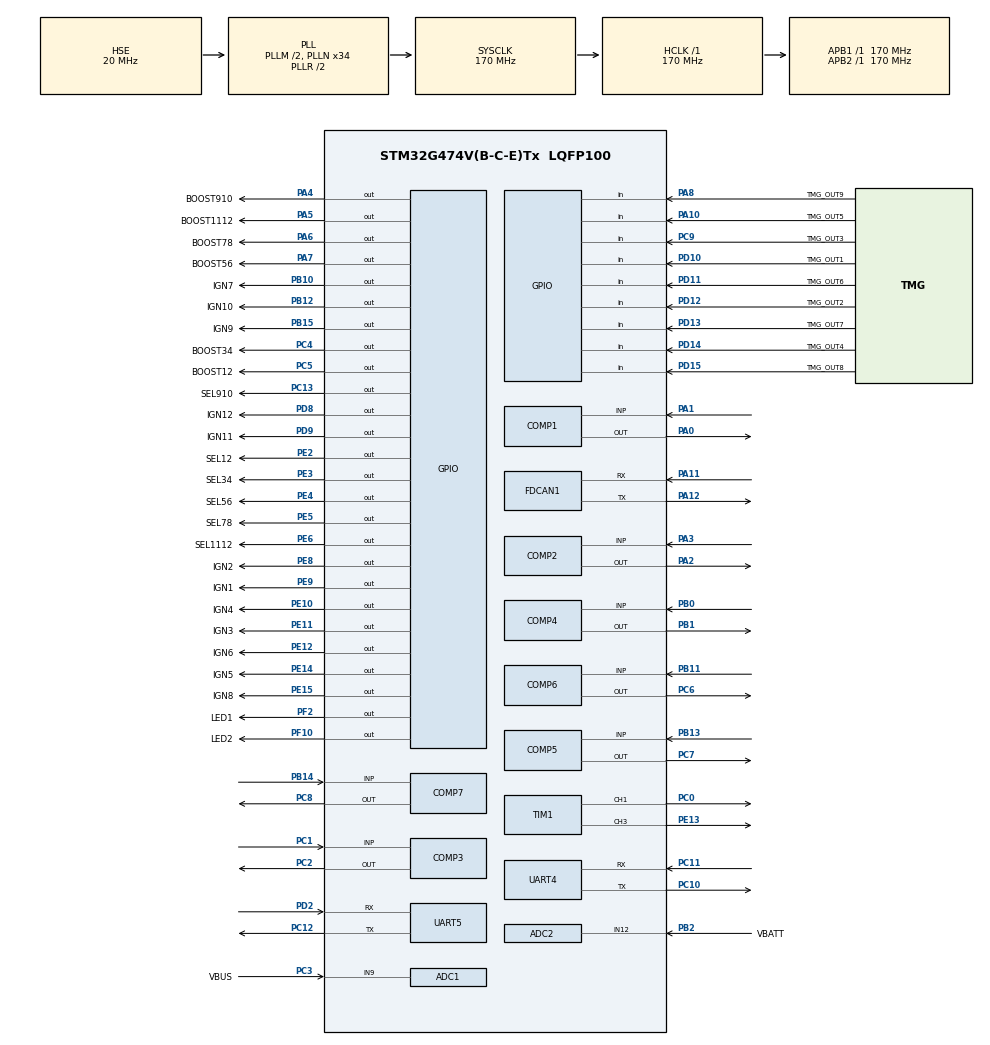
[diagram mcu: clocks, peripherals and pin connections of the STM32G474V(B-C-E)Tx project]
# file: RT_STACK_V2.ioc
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ADC1.Channel-0\#ChannelRegularConversion=ADC_CHANNEL_2
ADC1.Channel-1\#ChannelRegularConversion=ADC_CHANNEL_4
ADC1.Channel-2\#ChannelRegularConversion=ADC_CHANNEL_7
ADC1.Channel-3\#ChannelRegularConversion=ADC_CHANNEL_9
ADC1.Channel-4\#ChannelRegularConversion=ADC_CHANNEL_14
ADC1.Channel-5\#ChannelRegularConversion=ADC_CHANNEL_TEMPSENSOR_ADC1
ADC1.Channel-6\#ChannelRegularConversion=ADC_CHANNEL_VREFINT
ADC1.Channel-7\#ChannelRegularConversion=ADC_CHANNEL_15
ADC1.ClockPrescaler=ADC_CLOCK_ASYNC_DIV256
ADC1.ContinuousConvMode=ENABLE
ADC1.DMAContinuousRequests=ENABLE
ADC1.NbrOfConversion=8
ADC1.NbrOfConversionFlag=1
ADC1.OffsetNumber-0\#ChannelRegularConversion=ADC_OFFSET_NONE
ADC1.OffsetNumber-1\#ChannelRegularConversion=ADC_OFFSET_NONE
ADC1.OffsetNumber-2\#ChannelRegularConversion=ADC_OFFSET_NONE
ADC1.OffsetNumber-3\#ChannelRegularConversion=ADC_OFFSET_NONE
ADC1.OffsetNumber-4\#ChannelRegularConversion=ADC_OFFSET_NONE
ADC1.OffsetNumber-5\#ChannelRegularConversion=ADC_OFFSET_NONE
ADC1.OffsetNumber-6\#ChannelRegularConversion=ADC_OFFSET_NONE
ADC1.OffsetNumber-7\#ChannelRegularConversion=ADC_OFFSET_NONE
ADC1.Rank-0\#ChannelRegularConversion=1
ADC1.Rank-1\#ChannelRegularConversion=2
ADC1.Rank-2\#ChannelRegularConversion=3
ADC1.Rank-3\#ChannelRegularConversion=4
ADC1.Rank-4\#ChannelRegularConversion=5
ADC1.Rank-5\#ChannelRegularConversion=6
ADC1.Rank-6\#ChannelRegularConversion=7
ADC1.Rank-7\#ChannelRegularConversion=8
ADC1.SamplingTime-0\#ChannelRegularConversion=ADC_SAMPLETIME_12CYCLES_5
ADC1.SamplingTime-1\#ChannelRegularConversion=ADC_SAMPLETIME_12CYCLES_5
ADC1.SamplingTime-2\#ChannelRegularConversion=ADC_SAMPLETIME_12CYCLES_5
ADC1.SamplingTime-3\#ChannelRegularConversion=ADC_SAMPLETIME_12CYCLES_5
ADC1.SamplingTime-4\#ChannelRegularConversion=ADC_SAMPLETIME_12CYCLES_5
ADC1.SamplingTime-5\#ChannelRegularConversion=ADC_SAMPLETIME_12CYCLES_5
ADC1.SamplingTime-6\#ChannelRegularConversion=ADC_SAMPLETIME_12CYCLES_5
ADC1.SamplingTime-7\#ChannelRegularConversion=ADC_SAMPLETIME_12CYCLES_5
ADC1.master=1
ADC2.Channel-0\#ChannelRegularConversion=ADC_CHANNEL_12
ADC2.ClockPrescaler=ADC_CLOCK_ASYNC_DIV256
ADC2.ContinuousConvMode=ENABLE
ADC2.NbrOfConversionFlag=1
ADC2.OffsetNumber-0\#ChannelRegularConversion=ADC_OFFSET_NONE
ADC2.Rank-0\#ChannelRegularConversion=1
ADC2.SamplingTime-0\#ChannelRegularConversion=ADC_SAMPLETIME_247CYCLES_5
ADC3.Channel-0\#ChannelRegularConversion=ADC_CHANNEL_5
ADC3.ClockPrescaler=ADC_CLOCK_ASYNC_DIV64
ADC3.ContinuousConvMode=ENABLE
ADC3.DMAContinuousRequests=ENABLE
ADC3.NbrOfConversionFlag=1
ADC3.OffsetNumber-0\#ChannelRegularConversion=ADC_OFFSET_NONE
ADC3.Rank-0\#ChannelRegularConversion=1
ADC3.SamplingTime-0\#ChannelRegularConversion=ADC_SAMPLETIME_12CYCLES_5
ADC3.master=1
DAC1.DAC_Channel-DAC_OUT2_Int=DAC_CHANNEL_2
DAC3.DAC_Channel-DAC_OUT2_Int=DAC_CHANNEL_2
DAC4.DAC_Channel-DAC_OUT2_Int=DAC_CHANNEL_2
Dma.ADC1.0.Direction=DMA_PERIPH_TO_MEMORY
Dma.ADC1.0.EventEnable=DISABLE
Dma.ADC1.0.Instance=DMA1_Channel1
Dma.ADC1.0.MemDataAlignment=DMA_MDATAALIGN_HALFWORD
Dma.ADC1.0.MemInc=DMA_MINC_ENABLE
Dma.ADC1.0.Mode=DMA_CIRCULAR
Dma.ADC1.0.PeriphDataAlignment=DMA_PDATAALIGN_HALFWORD
Dma.ADC1.0.PeriphInc=DMA_PINC_DISABLE
Dma.ADC1.0.Polarity=HAL_DMAMUX_REQ_GEN_RISING
Dma.ADC1.0.Priority=DMA_PRIORITY_HIGH
Dma.ADC1.0.RequestNumber=1
Dma.ADC1.0.SignalID=NONE
Dma.ADC1.0.SyncEnable=DISABLE
Dma.ADC1.0.SyncPolarity=HAL_DMAMUX_SYNC_NO_EVENT
Dma.ADC1.0.SyncRequestNumber=1
Dma.ADC1.0.SyncSignalID=NONE
Dma.ADC3.1.Direction=DMA_PERIPH_TO_MEMORY
Dma.ADC3.1.EventEnable=DISABLE
Dma.ADC3.1.Instance=DMA1_Channel2
Dma.ADC3.1.MemDataAlignment=DMA_MDATAALIGN_HALFWORD
Dma.ADC3.1.MemInc=DMA_MINC_ENABLE
Dma.ADC3.1.Mode=DMA_CIRCULAR
Dma.ADC3.1.PeriphDataAlignment=DMA_PDATAALIGN_HALFWORD
Dma.ADC3.1.PeriphInc=DMA_PINC_DISABLE
Dma.ADC3.1.Polarity=HAL_DMAMUX_REQ_GEN_RISING
Dma.ADC3.1.Priority=DMA_PRIORITY_LOW
Dma.ADC3.1.RequestNumber=1
Dma.ADC3.1.SignalID=NONE
Dma.ADC3.1.SyncEnable=DISABLE
Dma.ADC3.1.SyncPolarity=HAL_DMAMUX_SYNC_NO_EVENT
Dma.ADC3.1.SyncRequestNumber=1
Dma.ADC3.1.SyncSignalID=NONE
Dma.Request0=ADC1
Dma.Request1=ADC3
FDCAN1.AutoRetransmission=ENABLE
FDCAN1.CalculateBaudRateNominal=499999
FDCAN1.CalculateTimeBitNominal=2000
FDCAN1.CalculateTimeQuantumNominal=58.82352941176471
FDCAN1.NominalPrescaler=10
FDCAN1.NominalSyncJumpWidth=4
FDCAN1.NominalTimeSeg1=29
FDCAN1.NominalTimeSeg2=4
Mcu.Family=STM32G4
Mcu.Name=STM32G474V(B-C-E)Tx
Mcu.Package=LQFP100
NVIC.DMA1_Channel1_IRQn=true\:0\:0\:false\:false\:true\:false\:true\:true
NVIC.DMA1_Channel2_IRQn=true\:0\:0\:false\:false\:true\:false\:true\:true
NVIC.PriorityGroup=NVIC_PRIORITYGROUP_4
PA0.Mode=ExternalOutput
PA0.Signal=COMP1_OUT
PA1.Signal=SharedAnalog_PA1
PA10.GPIO_Label=TMG_OUT5
PA10.Signal=GPIO_Input
PA11.Mode=FDCAN_Activate
PA11.Signal=FDCAN1_RX
PA12.Mode=FDCAN_Activate
PA12.Signal=FDCAN1_TX
PA2.Mode=ExternalOutput
PA2.Signal=COMP2_OUT
PA3.Signal=SharedAnalog_PA3
PA4.GPIO_Label=BOOST910
PA4.Signal=GPIO_Output
PA5.GPIO_Label=BOOST1112
PA5.Signal=GPIO_Output
PA6.GPIO_Label=BOOST78
PA6.Signal=GPIO_Output
PA7.GPIO_Label=BOOST56
PA7.Signal=GPIO_Output
PA8.GPIO_Label=TMG_OUT9
PA8.Signal=GPIO_Input
PB0.Signal=SharedAnalog_PB0
PB1.Mode=ExternalOutput
PB1.Signal=COMP4_OUT
PB10.GPIO_Label=IGN7
PB10.Signal=GPIO_Output
PB11.Signal=SharedAnalog_PB11
PB12.GPIO_Label=IGN10
PB12.Signal=GPIO_Output
PB13.Signal=SharedAnalog_PB13
PB14.Mode=INP
PB14.Signal=COMP7_INP
PB15.GPIO_Label=IGN9
PB15.Signal=GPIO_Output
PB2.GPIO_Label=VBATT
PB2.Mode=IN12-Single-Ended
PB2.Signal=ADC2_IN12
PC0.Signal=S_TIM1_CH1
PC1.Signal=SharedAnalog_PC1
PC10.Mode=Asynchronous
PC10.Signal=UART4_TX
PC11.Mode=Asynchronous
PC11.Signal=UART4_RX
PC12.Mode=Asynchronous
PC12.Signal=UART5_TX
PC13.GPIO_Label=SEL910
PC13.Signal=GPIO_Output
PC2.Mode=ExternalOutput
PC2.Signal=COMP3_OUT
PC3.GPIO_Label=VBUS
PC3.Mode=IN9-Single-Ended
PC3.Signal=ADC1_IN9
PC4.GPIO_Label=BOOST34
PC4.Signal=GPIO_Output
PC5.GPIO_Label=BOOST12
PC5.Signal=GPIO_Output
PC6.Mode=ExternalOutput
PC6.Signal=COMP6_OUT
PC7.Mode=ExternalOutput
PC7.Signal=COMP5_OUT
PC8.Mode=ExternalOutput
PC8.Signal=COMP7_OUT
PC9.GPIO_Label=TMG_OUT3
PC9.Signal=GPIO_Input
PD10.GPIO_Label=TMG_OUT1
PD10.Signal=GPIO_Input
PD11.GPIO_Label=TMG_OUT6
PD11.Signal=GPIO_Input
PD12.GPIO_Label=TMG_OUT2
PD12.Signal=GPIO_Input
PD13.GPIO_Label=TMG_OUT7
PD13.Signal=GPIO_Input
PD14.GPIO_Label=TMG_OUT4
PD14.Signal=GPIO_Input
PD15.GPIO_Label=TMG_OUT8
PD15.Signal=GPIO_Input
PD2.Mode=Asynchronous
PD2.Signal=UART5_RX
PD8.GPIO_Label=IGN12
PD8.Signal=GPIO_Output
PD9.GPIO_Label=IGN11
PD9.Signal=GPIO_Output
PE10.GPIO_Label=IGN4
PE10.Signal=GPIO_Output
PE11.GPIO_Label=IGN3
PE11.Signal=GPIO_Output
PE12.GPIO_Label=IGN6
PE12.Signal=GPIO_Output
PE13.Signal=S_TIM1_CH3
PE14.GPIO_Label=IGN5
PE14.Signal=GPIO_Output
PE15.GPIO_Label=IGN8
PE15.Signal=GPIO_Output
PE2.GPIO_Label=SEL12
PE2.Signal=GPIO_Output
PE3.GPIO_Label=SEL34
PE3.Signal=GPIO_Output
PE4.GPIO_Label=SEL56
PE4.Signal=GPIO_Output
PE5.GPIO_Label=SEL78
PE5.Signal=GPIO_Output
PE6.GPIO_Label=SEL1112
PE6.Signal=GPIO_Output
PE8.GPIO_Label=IGN2
PE8.Signal=GPIO_Output
PE9.GPIO_Label=IGN1
PE9.Signal=GPIO_Output
PF0-OSC_IN.Mode=HSE-External-Oscillator
PF0-OSC_IN.Signal=RCC_OSC_IN
PF1-OSC_OUT.Mode=HSE-External-Oscillator
PF1-OSC_OUT.Signal=RCC_OSC_OUT
PF10.GPIO_Label=LED2
PF10.Signal=GPIO_Output
PF2.GPIO_Label=LED1
PF2.Signal=GPIO_Output
ProjectManager.HeapSize=0x200
ProjectManager.StackSize=0x400
ProjectManager.TargetToolchain=STM32CubeIDE
RCC.ADC12Freq_Value=170000000
RCC.ADC345Freq_Value=170000000
RCC.AHBFreq_Value=170000000
RCC.APB1Freq_Value=170000000
RCC.APB1TimFreq_Value=170000000
RCC.APB2Freq_Value=170000000
RCC.APB2TimFreq_Value=170000000
RCC.CortexFreq_Value=170000000
RCC.EXTERNAL_CLOCK_VALUE=12288000
RCC.HCLKFreq_Value=170000000
RCC.HSE_VALUE=20000000
RCC.HSI48_VALUE=48000000
RCC.HSI_VALUE=16000000
RCC.LSE_VALUE=32768
RCC.PLLM=RCC_PLLM_DIV2
RCC.PLLN=34
RCC.PLLSourceVirtual=RCC_PLLSOURCE_HSE
RCC.SYSCLKFreq_VALUE=170000000
RCC.SYSCLKSource=RCC_SYSCLKSOURCE_PLLCLK
RCC.USBFreq_Value=170000000
RCC.VCOOutputFreq_Value=340000000
SH.S_TIM1_CH1.0=TIM1_CH1,PWM Generation1 CH1
SH.S_TIM1_CH3.0=TIM1_CH3,PWM Generation3 CH3
SH.SharedAnalog_PA1.0=COMP1_INP,INP
SH.SharedAnalog_PA1.1=ADC1_IN2,IN2-Single-Ended
SH.SharedAnalog_PA3.0=COMP2_INP,INP
SH.SharedAnalog_PA3.1=ADC1_IN4,IN4-Single-Ended
SH.SharedAnalog_PB0.0=COMP4_INP,INP
SH.SharedAnalog_PB0.1=ADC1_IN15,IN15-Single-Ended
SH.SharedAnalog_PB11.0=COMP6_INP,INP
SH.SharedAnalog_PB11.1=ADC1_IN14,IN14-Single-Ended
SH.SharedAnalog_PB13.0=COMP5_INP,INP
SH.SharedAnalog_PB13.1=ADC3_IN5,IN5-Single-Ended
SH.SharedAnalog_PC1.0=COMP3_INP,INP
SH.SharedAnalog_PC1.1=ADC1_IN7,IN7-Single-Ended
TIM1.AutoReloadPreload=TIM_AUTORELOAD_PRELOAD_ENABLE
TIM1.Channel-PWM\ Generation1\ CH1=TIM_CHANNEL_1
TIM1.Channel-PWM\ Generation2\ No\ Output=TIM_CHANNEL_2
TIM1.Channel-PWM\ Generation3\ CH3=TIM_CHANNEL_3
TIM1.Channel-PWM\ Generation4\ No\ Output=TIM_CHANNEL_4
TIM1.CounterMode=TIM_COUNTERMODE_CENTERALIGNED3
TIM1.OCMode_PWM-PWM\ Generation1\ CH1=TIM_OCMODE_PWM1
TIM1.OCMode_PWM-PWM\ Generation3\ CH3=TIM_OCMODE_PWM2
TIM1.OffStateIDLEMode=TIM_OSSI_ENABLE
TIM1.OffStateRunMode=TIM_OSSR_ENABLE
TIM1.PulseNoDither_3=65535
TIM1.RepetitionCounter=1
VP_ADC1_TempSens_Input.Mode=IN-TempSens
VP_ADC1_Vref_Input.Mode=IN-Vrefint
VP_COMP1_VS_DAC1OUT1.Mode=INM_DAC1OUT1
VP_COMP2_VS_DAC1OUT2.Mode=INM_DAC1OUT2
VP_COMP3_VS_DAC3OUT1.Mode=INM_DAC3OUT1
VP_COMP4_VS_DAC3OUT2.Mode=INM_DAC3OUT2
VP_COMP5_VS_DAC4OUT1.Mode=INM_DAC4OUT1
VP_COMP6_VS_DAC4OUT2.Mode=INM_DAC4OUT2
VP_COMP7_VS_DAC2OUT1.Mode=INM_DAC2OUT1
VP_DAC1_VS_DACI1.Mode=DAC_OUT1_Int
VP_DAC1_VS_DACI2.Mode=DAC_OUT2_Int
VP_DAC2_VS_DACI1.Mode=DAC_OUT1_Int
VP_DAC3_VS_DACI1.Mode=DAC_OUT1_Int
VP_DAC3_VS_DACI2.Mode=DAC_OUT2_Int
VP_DAC4_VS_DACI1.Mode=DAC_OUT1_Int
VP_DAC4_VS_DACI2.Mode=DAC_OUT2_Int
VP_SYS_VS_DBSignals.Mode=DisableDeadBatterySignals
VP_TIM1_VS_ClockSourceINT.Mode=Internal
VP_TIM1_VS_no_output2.Mode=PWM Generation2 No Output
VP_TIM1_VS_no_output4.Mode=PWM Generation4 No Output
board=custom

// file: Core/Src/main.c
/* USER CODE BEGIN Header */
/* USER CODE END Header */
#include "main.h"

/* USER CODE BEGIN Includes */
#include <stdio.h>
#include <stdbool.h>
#include "board_config.h"
#include "board_safety_stm32.h"
#include "diagnostics_can.h"
#include "dcdc_platform_stm32.h"
#include "engine_control.h"
#include "engine_watchdog_stm32.h"
#include "trigger_capture_stm32.h"
/* USER CODE END Includes */

/* USER CODE BEGIN PTD */
/* Injection/ignition types live in injection.c / spark.c; the hardware maps
 * live in engine_config.h. */
/* USER CODE END PTD */

/* USER CODE BEGIN PD */
/* TMG_CH_COUNT is defined in trigger_decoder.h (sizes the tmg_* arrays).
 * Engine calibration (cylinders, channels, thresholds) is in engine_config.h. */

/* Measured analog reference voltage, in mV (ADC conversions) */
#define VDDA_MV         3200U

enum
{
  ADC1_IDX_COMP1 = 0U,
  ADC1_IDX_COMP2 = 1U,
  ADC1_IDX_COMP3 = 2U,
  ADC1_IDX_VBUS  = 3U,
  ADC1_IDX_COMP6 = 4U,
  ADC1_IDX_TEMP  = 5U,
  ADC1_IDX_VREF  = 6U,
  ADC1_IDX_COMP4 = 7U,
  ADC3_IDX_COMP5 = 0U,
};
/* USER CODE END PD */

ADC_HandleTypeDef hadc1;
ADC_HandleTypeDef hadc2;
ADC_HandleTypeDef hadc3;
DMA_HandleTypeDef hdma_adc1;
DMA_HandleTypeDef hdma_adc3;

COMP_HandleTypeDef hcomp1;
COMP_HandleTypeDef hcomp2;
COMP_HandleTypeDef hcomp3;
COMP_HandleTypeDef hcomp4;
COMP_HandleTypeDef hcomp5;
COMP_HandleTypeDef hcomp6;
COMP_HandleTypeDef hcomp7;

DAC_HandleTypeDef hdac1;
DAC_HandleTypeDef hdac2;
DAC_HandleTypeDef hdac3;
DAC_HandleTypeDef hdac4;

FDCAN_HandleTypeDef hfdcan1;

TIM_HandleTypeDef htim1;

UART_HandleTypeDef huart4;
UART_HandleTypeDef huart5;

/* USER CODE BEGIN PV */
volatile uint16_t ADC_VAL_adc1[8];
volatile uint16_t ADC_VAL_adc3[1];
static uint16_t adc2_vbatt_raw;

typedef struct
{
  uint16_t comp1_raw;
  uint16_t comp2_raw;
  uint16_t comp3_raw;
  uint16_t comp4_raw;
  uint16_t comp5_raw;
  uint16_t comp6_raw;
  uint16_t vbus_raw;
  uint16_t temp_raw;
  uint16_t vref_raw;
  uint16_t vbat_raw;
} adc_snapshot_t;
/* USER CODE END PV */

void SystemClock_Config(void);
static void MX_GPIO_Init(void);
static void MX_DMA_Init(void);
static void MX_COMP2_Init(void);
static void MX_COMP3_Init(void);
static void MX_COMP4_Init(void);
static void MX_COMP5_Init(void);
static void MX_COMP6_Init(void);
static void MX_COMP7_Init(void);
static void MX_DAC1_Init(void);
static void MX_DAC2_Init(void);
static void MX_DAC3_Init(void);
static void MX_DAC4_Init(void);
static void MX_TIM1_Init(void);
static void MX_UART4_Init(void);
static void MX_UART5_Init(void);
static void MX_ADC1_Init(void);
static void MX_FDCAN1_Init(void);
static void MX_COMP1_Init(void);
static void MX_ADC3_Init(void);
static void MX_ADC2_Init(void);

/* USER CODE BEGIN 0 */
/**
 * @brief Force boot from flash via option bytes (one-shot).
 *
 * The board has no pull-down on BOOT0/PB8: if the pin samples high at reset
 * the ST bootloader runs and the application is not executed. This sets
 * nSWBOOT0=0 (boot ignores the pin) and nBOOT0=1 (boot from flash). If the
 * option bytes are already correct it does nothing; otherwise it programs them
 * and HAL_FLASH_OB_Launch() triggers a reset (does not return).
 */
static void boot_from_flash_ob_init(void)
{
  if (((FLASH->OPTR & FLASH_OPTR_nSWBOOT0) == 0U) &&
      ((FLASH->OPTR & FLASH_OPTR_nBOOT0) != 0U))
  {
    return;   /* already configured: always boots from flash */
  }

  FLASH_OBProgramInitTypeDef ob = {0};

  HAL_FLASH_Unlock();
  HAL_FLASH_OB_Unlock();

  ob.OptionType = OPTIONBYTE_USER;
  ob.USERType   = OB_USER_nSWBOOT0 | OB_USER_nBOOT0;
  ob.USERConfig = OB_BOOT0_FROM_OB | OB_nBOOT0_SET;

  if (HAL_FLASHEx_OBProgram(&ob) == HAL_OK)
  {
    HAL_FLASH_OB_Launch();   /* apply and reset the MCU: does not return */
  }

  /* Programming failed: re-lock the flash and signal */
  HAL_FLASH_OB_Lock();
  HAL_FLASH_Lock();
  Error_Handler();
}

static void injector_comparator_hysteresis_init(void)
{
  COMP_HandleTypeDef *const comparators[] = {
    &hcomp1, &hcomp2, &hcomp3, &hcomp4, &hcomp5, &hcomp6,
  };

  for (uint32_t i = 0U; i < (sizeof(comparators) / sizeof(comparators[0])); ++i)
  {
    comparators[i]->Init.Hysteresis = BOARD_INJECTOR_COMPARATOR_HYSTERESIS;
    MODIFY_REG(comparators[i]->Instance->CSR, COMP_CSR_HYST,
               BOARD_INJECTOR_COMPARATOR_HYSTERESIS);
  }
}

static adc_snapshot_t adc_snapshot_read(void)
{
  if (__HAL_ADC_GET_FLAG(&hadc2, ADC_FLAG_EOC) != 0U)
  {
    adc2_vbatt_raw = (uint16_t)HAL_ADC_GetValue(&hadc2);
  }

  adc_snapshot_t adc = {
    .comp1_raw = ADC_VAL_adc1[ADC1_IDX_COMP1],
    .comp2_raw = ADC_VAL_adc1[ADC1_IDX_COMP2],
    .comp3_raw = ADC_VAL_adc1[ADC1_IDX_COMP3],
    .comp4_raw = ADC_VAL_adc1[ADC1_IDX_COMP4],
    .comp5_raw = ADC_VAL_adc3[ADC3_IDX_COMP5],
    .comp6_raw = ADC_VAL_adc1[ADC1_IDX_COMP6],
    .vbus_raw  = ADC_VAL_adc1[ADC1_IDX_VBUS],
    .temp_raw  = ADC_VAL_adc1[ADC1_IDX_TEMP],
    .vref_raw  = ADC_VAL_adc1[ADC1_IDX_VREF],
    .vbat_raw  = adc2_vbatt_raw,
  };

  return adc;
}

/* USER CODE END 0 */

int main(void)
{

  /* USER CODE BEGIN 1 */
  /* Force the vector table into flash. With VTOR=0 (G4 default) the vectors
   * depend on how BOOT0 (PB8) is sampled at reset: if it is not pulled low,
   * exceptions land in the ST bootloader's table and SysTick/EXTI never reach
   * the application handlers. */
  SCB->VTOR = FLASH_BASE;
  __DSB();
  /* The PCB has no external actuator pull-downs/global enable.  Reduce the
   * high-impedance boot window before HAL, clocks, or option-byte work. */
  board_force_actuator_pins_low_early();
  /* USER CODE END 1 */

  /* MCU Configuration--------------------------------------------------------*/

  /* Reset of all peripherals, Initializes the Flash interface and the Systick. */
  HAL_Init();

  /* USER CODE BEGIN Init */
  boot_from_flash_ob_init();
  /* USER CODE END Init */

  /* Configure the system clock */
  SystemClock_Config();

  /* USER CODE BEGIN SysInit */
  HAL_RCC_EnableCSS();
  /* USER CODE END SysInit */

  /* Initialize all configured peripherals */
  MX_GPIO_Init();
  MX_DMA_Init();
  MX_COMP2_Init();
  MX_COMP3_Init();
  MX_COMP4_Init();
  MX_COMP5_Init();
  MX_COMP6_Init();
  MX_COMP7_Init();
  MX_DAC1_Init();
  MX_DAC2_Init();
  MX_DAC3_Init();
  MX_DAC4_Init();
  MX_TIM1_Init();
  MX_UART4_Init();
  MX_UART5_Init();
  MX_ADC1_Init();
  MX_FDCAN1_Init();
  MX_COMP1_Init();
  MX_ADC3_Init();
  MX_ADC2_Init();
  /* USER CODE BEGIN 2 */
  /* CubeMX currently emits COMP_HYSTERESIS_NONE. Apply the board-level value
   * from a preserved user block before injection can start a comparator. */
  injector_comparator_hysteresis_init();

  const dcdc_platform_stm32_config_t dcdc_platform_config = {
    .pwm_timer = &htim1,
    .vbus_adc = &hadc1,
    .adc_dma_values = ADC_VAL_adc1,
    .adc_dma_value_count = 8U,
    .vbus_dma_index = ADC1_IDX_VBUS,
    .vref_dma_index = ADC1_IDX_VREF,
    .fallback_vdda_mv = VDDA_MV,
  };
  if (!dcdc_platform_stm32_init(&dcdc_platform_config, HAL_GetTick()))
  {
    Error_Handler();
  }

  HAL_NVIC_DisableIRQ(DMA1_Channel1_IRQn);
  HAL_NVIC_DisableIRQ(DMA1_Channel2_IRQn);
  /* ADC DMA priority at the minimum (the IRQs stay disabled anyway) */
  HAL_NVIC_SetPriority(DMA1_Channel1_IRQn, 15, 0);
  HAL_NVIC_SetPriority(DMA1_Channel2_IRQn, 15, 0);

  if (HAL_ADCEx_Calibration_Start(&hadc1, ADC_SINGLE_ENDED) != HAL_OK)
  {
    Error_Handler();
  }

  if (HAL_ADCEx_Calibration_Start(&hadc3, ADC_SINGLE_ENDED) != HAL_OK)
  {
    Error_Handler();
  }

  if (HAL_ADCEx_Calibration_Start(&hadc2, ADC_SINGLE_ENDED) != HAL_OK)
  {
    Error_Handler();
  }

  if (!dcdc_platform_stm32_configure_analog_watchdog())
  {
    Error_Handler();
  }

  if (HAL_ADC_Start_DMA(&hadc1, (uint32_t *)ADC_VAL_adc1, 8U) != HAL_OK)
  {
    Error_Handler();
  }
  __HAL_DMA_DISABLE_IT(&hdma_adc1, DMA_IT_HT | DMA_IT_TC);

  if (HAL_ADC_Start_DMA(&hadc3, (uint32_t *)ADC_VAL_adc3, 1U) != HAL_OK)
  {
    Error_Handler();
  }
  __HAL_DMA_DISABLE_IT(&hdma_adc3, DMA_IT_HT | DMA_IT_TC);

  if (HAL_ADC_Start(&hadc2) != HAL_OK)
  {
    Error_Handler();
  }

  if (!dcdc_platform_stm32_start())
  {
    Error_Handler();
  }

#if (BOARD_FDCAN1_TRANSCEIVER_WIRING_FIXED != 0U)
  if ((diagnostics_can_init(&hfdcan1) != HAL_OK) ||
      (HAL_FDCAN_Start(&hfdcan1) != HAL_OK))
  {
    Error_Handler();
  }
#endif

  /* Initialize the consumer before enabling any trigger producer.  TIM2 is a
   * common clock for captured/EXTI edges and actuator hard deadlines. */
  const trigger_decoder_config_t *trigger_config =
      trigger_decoder_default_config();
  (void)engine_control_init(trigger_config, trigger_capture_timestamp_hz());
  /* Start supervision before trigger IRQs. A noisy/stuck input must not be
   * able to starve foreground activation of the watchdog. */
  if (!engine_watchdog_stm32_start())
  {
    engine_control_emergency_fault_isr(ENGINE_FAULT_PLATFORM);
    Error_Handler();
  }
  if (!trigger_capture_stm32_init(trigger_config))
  {
    engine_control_emergency_fault_isr(ENGINE_FAULT_PLATFORM);
    Error_Handler();
  }

  /* USER CODE END 2 */

  /* Infinite loop */
  /* USER CODE BEGIN WHILE */
  while (1)
  {
    const uint32_t now_ms = HAL_GetTick();
    engine_control_state_t engine;
    engine_control_service();
    engine_control_get_state(&engine);

    dcdc_platform_stm32_service(now_ms);

    adc_snapshot_t adc = adc_snapshot_read();
    uint32_t vdda_mv = (adc.vref_raw != 0U) ?
        __HAL_ADC_CALC_VREFANALOG_VOLTAGE(adc.vref_raw, ADC_RESOLUTION_12B) :
        VDDA_MV;

#if (BOARD_FDCAN1_TRANSCEIVER_WIRING_FIXED != 0U)
    int32_t temp_celsius = __HAL_ADC_CALC_TEMPERATURE(
        vdda_mv, adc.temp_raw, ADC_RESOLUTION_12B);

    diagnostics_sensor_snapshot_t sensors = {
      .mcu_temperature_c = temp_celsius,
      .external_vbatt_raw = adc.vbat_raw,
      .vbus_raw = adc.vbus_raw,
      .vdda_mv = (uint16_t)vdda_mv,
    };
    diagnostics_can_service(now_ms, &engine, &sensors);
#else
    /* ADC values remain visible to a debugger while the unsafe CAN route is
     * disabled. adc_snapshot_read() above also clears ADC2 EOC/overrun. */
    (void)adc;
    (void)vdda_mv;
#endif

    /* Refresh only after the complete foreground control/diagnostics pass.
     * A deadlock or unbounded service therefore causes a hardware reset. */
    engine_watchdog_stm32_refresh();

  }
    /* USER CODE END WHILE */

}

void SystemClock_Config(void)
{
  RCC_OscInitTypeDef RCC_OscInitStruct = {0};
  RCC_ClkInitTypeDef RCC_ClkInitStruct = {0};

  /** Configure the main internal regulator output voltage
  */
  HAL_PWREx_ControlVoltageScaling(PWR_REGULATOR_VOLTAGE_SCALE1_BOOST);

  /** Initializes the RCC Oscillators according to the specified parameters
  * in the RCC_OscInitTypeDef structure.
  */
  RCC_OscInitStruct.OscillatorType = RCC_OSCILLATORTYPE_HSE;
  RCC_OscInitStruct.HSEState = RCC_HSE_ON;
  RCC_OscInitStruct.PLL.PLLState = RCC_PLL_ON;
  RCC_OscInitStruct.PLL.PLLSource = RCC_PLLSOURCE_HSE;
  RCC_OscInitStruct.PLL.PLLM = RCC_PLLM_DIV2;
  RCC_OscInitStruct.PLL.PLLN = 34;
  RCC_OscInitStruct.PLL.PLLP = RCC_PLLP_DIV2;
  RCC_OscInitStruct.PLL.PLLQ = RCC_PLLQ_DIV2;
  RCC_OscInitStruct.PLL.PLLR = RCC_PLLR_DIV2;
  if (HAL_RCC_OscConfig(&RCC_OscInitStruct) != HAL_OK)
  {
    Error_Handler();
  }

  /** Initializes the CPU, AHB and APB buses clocks
  */
  RCC_ClkInitStruct.ClockType = RCC_CLOCKTYPE_HCLK|RCC_CLOCKTYPE_SYSCLK
                              |RCC_CLOCKTYPE_PCLK1|RCC_CLOCKTYPE_PCLK2;
  RCC_ClkInitStruct.SYSCLKSource = RCC_SYSCLKSOURCE_PLLCLK;
  RCC_ClkInitStruct.AHBCLKDivider = RCC_SYSCLK_DIV1;
  RCC_ClkInitStruct.APB1CLKDivider = RCC_HCLK_DIV1;
  RCC_ClkInitStruct.APB2CLKDivider = RCC_HCLK_DIV1;

  if (HAL_RCC_ClockConfig(&RCC_ClkInitStruct, FLASH_LATENCY_4) != HAL_OK)
  {
    Error_Handler();
  }
}

static void MX_ADC1_Init(void)
{

  ADC_MultiModeTypeDef multimode = {0};
  ADC_ChannelConfTypeDef sConfig = {0};

  /** Common config
  */
  hadc1.Instance = ADC1;
  hadc1.Init.ClockPrescaler = ADC_CLOCK_ASYNC_DIV256;
  hadc1.Init.Resolution = ADC_RESOLUTION_12B;
  hadc1.Init.DataAlign = ADC_DATAALIGN_RIGHT;
  hadc1.Init.GainCompensation = 0;
  hadc1.Init.ScanConvMode = ADC_SCAN_ENABLE;
  hadc1.Init.EOCSelection = ADC_EOC_SINGLE_CONV;
  hadc1.Init.LowPowerAutoWait = DISABLE;
  hadc1.Init.ContinuousConvMode = ENABLE;
  hadc1.Init.NbrOfConversion = 8;
  hadc1.Init.DiscontinuousConvMode = DISABLE;
  hadc1.Init.ExternalTrigConv = ADC_SOFTWARE_START;
  hadc1.Init.ExternalTrigConvEdge = ADC_EXTERNALTRIGCONVEDGE_NONE;
  hadc1.Init.DMAContinuousRequests = ENABLE;
  hadc1.Init.Overrun = ADC_OVR_DATA_PRESERVED;
  hadc1.Init.OversamplingMode = DISABLE;
  if (HAL_ADC_Init(&hadc1) != HAL_OK)
  {
    Error_Handler();
  }

  /** Configure the ADC multi-mode
  */
  multimode.Mode = ADC_MODE_INDEPENDENT;
  if (HAL_ADCEx_MultiModeConfigChannel(&hadc1, &multimode) != HAL_OK)
  {
    Error_Handler();
  }

  /** Configure Regular Channel
  */
  sConfig.Channel = ADC_CHANNEL_2;
  sConfig.Rank = ADC_REGULAR_RANK_1;
  sConfig.SamplingTime = ADC_SAMPLETIME_12CYCLES_5;
  sConfig.SingleDiff = ADC_SINGLE_ENDED;
  sConfig.OffsetNumber = ADC_OFFSET_NONE;
  sConfig.Offset = 0;
  if (HAL_ADC_ConfigChannel(&hadc1, &sConfig) != HAL_OK)
  {
    Error_Handler();
  }

  /** Configure Regular Channel
  */
  sConfig.Channel = ADC_CHANNEL_4;
  sConfig.Rank = ADC_REGULAR_RANK_2;
  if (HAL_ADC_ConfigChannel(&hadc1, &sConfig) != HAL_OK)
  {
    Error_Handler();
  }

  /** Configure Regular Channel
  */
  sConfig.Channel = ADC_CHANNEL_7;
  sConfig.Rank = ADC_REGULAR_RANK_3;
  if (HAL_ADC_ConfigChannel(&hadc1, &sConfig) != HAL_OK)
  {
    Error_Handler();
  }

  /** Configure Regular Channel
  */
  sConfig.Channel = ADC_CHANNEL_9;
  sConfig.Rank = ADC_REGULAR_RANK_4;
  if (HAL_ADC_ConfigChannel(&hadc1, &sConfig) != HAL_OK)
  {
    Error_Handler();
  }

  /** Configure Regular Channel
  */
  sConfig.Channel = ADC_CHANNEL_14;
  sConfig.Rank = ADC_REGULAR_RANK_5;
  if (HAL_ADC_ConfigChannel(&hadc1, &sConfig) != HAL_OK)
  {
    Error_Handler();
  }

  /** Configure Regular Channel
  */
  sConfig.Channel = ADC_CHANNEL_TEMPSENSOR_ADC1;
  sConfig.Rank = ADC_REGULAR_RANK_6;
  if (HAL_ADC_ConfigChannel(&hadc1, &sConfig) != HAL_OK)
  {
    Error_Handler();
  }

  /** Configure Regular Channel
  */
  sConfig.Channel = ADC_CHANNEL_VREFINT;
  sConfig.Rank = ADC_REGULAR_RANK_7;
  if (HAL_ADC_ConfigChannel(&hadc1, &sConfig) != HAL_OK)
  {
    Error_Handler();
  }

  /** Configure Regular Channel
  */
  sConfig.Channel = ADC_CHANNEL_15;
  sConfig.Rank = ADC_REGULAR_RANK_8;
  if (HAL_ADC_ConfigChannel(&hadc1, &sConfig) != HAL_OK)
  {
    Error_Handler();
  }

}

static void MX_ADC2_Init(void)
{

  ADC_ChannelConfTypeDef sConfig = {0};

  /* USER CODE BEGIN ADC2_Init 1 */
  /* ADC_CHANNEL_12 is fed by the external VBATT divider. Keep the long
   * CubeMX sampling time so the divider source impedance can settle. */
  /* USER CODE END ADC2_Init 1 */

  /** Common config
  */
  hadc2.Instance = ADC2;
  hadc2.Init.ClockPrescaler = ADC_CLOCK_ASYNC_DIV256;
  hadc2.Init.Resolution = ADC_RESOLUTION_12B;
  hadc2.Init.DataAlign = ADC_DATAALIGN_RIGHT;
  hadc2.Init.GainCompensation = 0;
  hadc2.Init.ScanConvMode = ADC_SCAN_DISABLE;
  hadc2.Init.EOCSelection = ADC_EOC_SINGLE_CONV;
  hadc2.Init.LowPowerAutoWait = DISABLE;
  hadc2.Init.ContinuousConvMode = ENABLE;
  hadc2.Init.NbrOfConversion = 1;
  hadc2.Init.DiscontinuousConvMode = DISABLE;
  hadc2.Init.ExternalTrigConv = ADC_SOFTWARE_START;
  hadc2.Init.ExternalTrigConvEdge = ADC_EXTERNALTRIGCONVEDGE_NONE;
  hadc2.Init.DMAContinuousRequests = DISABLE;
  hadc2.Init.Overrun = ADC_OVR_DATA_PRESERVED;
  hadc2.Init.OversamplingMode = DISABLE;
  if (HAL_ADC_Init(&hadc2) != HAL_OK)
  {
    Error_Handler();
  }

  /** Configure Regular Channel
  */
  sConfig.Channel = ADC_CHANNEL_12;
  sConfig.Rank = ADC_REGULAR_RANK_1;
  sConfig.SamplingTime = ADC_SAMPLETIME_247CYCLES_5;
  sConfig.SingleDiff = ADC_SINGLE_ENDED;
  sConfig.OffsetNumber = ADC_OFFSET_NONE;
  sConfig.Offset = 0;
  if (HAL_ADC_ConfigChannel(&hadc2, &sConfig) != HAL_OK)
  {
    Error_Handler();
  }

}

static void MX_ADC3_Init(void)
{

  ADC_MultiModeTypeDef multimode = {0};
  ADC_ChannelConfTypeDef sConfig = {0};

  /** Common config
  */
  hadc3.Instance = ADC3;
  hadc3.Init.ClockPrescaler = ADC_CLOCK_ASYNC_DIV64;
  hadc3.Init.Resolution = ADC_RESOLUTION_12B;
  hadc3.Init.DataAlign = ADC_DATAALIGN_RIGHT;
  hadc3.Init.GainCompensation = 0;
  hadc3.Init.ScanConvMode = ADC_SCAN_DISABLE;
  hadc3.Init.EOCSelection = ADC_EOC_SINGLE_CONV;
  hadc3.Init.LowPowerAutoWait = DISABLE;
  hadc3.Init.ContinuousConvMode = ENABLE;
  hadc3.Init.NbrOfConversion = 1;
  hadc3.Init.DiscontinuousConvMode = DISABLE;
  hadc3.Init.ExternalTrigConv = ADC_SOFTWARE_START;
  hadc3.Init.ExternalTrigConvEdge = ADC_EXTERNALTRIGCONVEDGE_NONE;
  hadc3.Init.DMAContinuousRequests = ENABLE;
  hadc3.Init.Overrun = ADC_OVR_DATA_PRESERVED;
  hadc3.Init.OversamplingMode = DISABLE;
  if (HAL_ADC_Init(&hadc3) != HAL_OK)
  {
    Error_Handler();
  }

  /** Configure the ADC multi-mode
  */
  multimode.Mode = ADC_MODE_INDEPENDENT;
  if (HAL_ADCEx_MultiModeConfigChannel(&hadc3, &multimode) != HAL_OK)
  {
    Error_Handler();
  }

  /** Configure Regular Channel
  */
  sConfig.Channel = ADC_CHANNEL_5;
  sConfig.Rank = ADC_REGULAR_RANK_1;
  sConfig.SamplingTime = ADC_SAMPLETIME_12CYCLES_5;
  sConfig.SingleDiff = ADC_SINGLE_ENDED;
  sConfig.OffsetNumber = ADC_OFFSET_NONE;
  sConfig.Offset = 0;
  if (HAL_ADC_ConfigChannel(&hadc3, &sConfig) != HAL_OK)
  {
    Error_Handler();
  }

}

static void MX_COMP1_Init(void)
{

  hcomp1.Instance = COMP1;
  hcomp1.Init.InputPlus = COMP_INPUT_PLUS_IO1;
  hcomp1.Init.InputMinus = COMP_INPUT_MINUS_DAC1_CH1;
  hcomp1.Init.OutputPol = COMP_OUTPUTPOL_NONINVERTED;
  hcomp1.Init.Hysteresis = COMP_HYSTERESIS_NONE;
  hcomp1.Init.BlankingSrce = COMP_BLANKINGSRC_NONE;
  hcomp1.Init.TriggerMode = COMP_TRIGGERMODE_NONE;
  if (HAL_COMP_Init(&hcomp1) != HAL_OK)
  {
    Error_Handler();
  }

}

static void MX_COMP2_Init(void)
{

  hcomp2.Instance = COMP2;
  hcomp2.Init.InputPlus = COMP_INPUT_PLUS_IO2;
  hcomp2.Init.InputMinus = COMP_INPUT_MINUS_DAC1_CH2;
  hcomp2.Init.OutputPol = COMP_OUTPUTPOL_NONINVERTED;
  hcomp2.Init.Hysteresis = COMP_HYSTERESIS_NONE;
  hcomp2.Init.BlankingSrce = COMP_BLANKINGSRC_NONE;
  hcomp2.Init.TriggerMode = COMP_TRIGGERMODE_NONE;
  if (HAL_COMP_Init(&hcomp2) != HAL_OK)
  {
    Error_Handler();
  }

}

static void MX_COMP3_Init(void)
{

  hcomp3.Instance = COMP3;
  hcomp3.Init.InputPlus = COMP_INPUT_PLUS_IO2;
  hcomp3.Init.InputMinus = COMP_INPUT_MINUS_DAC3_CH1;
  hcomp3.Init.OutputPol = COMP_OUTPUTPOL_NONINVERTED;
  hcomp3.Init.Hysteresis = COMP_HYSTERESIS_NONE;
  hcomp3.Init.BlankingSrce = COMP_BLANKINGSRC_NONE;
  hcomp3.Init.TriggerMode = COMP_TRIGGERMODE_NONE;
  if (HAL_COMP_Init(&hcomp3) != HAL_OK)
  {
    Error_Handler();
  }

}

static void MX_COMP4_Init(void)
{

  hcomp4.Instance = COMP4;
  hcomp4.Init.InputPlus = COMP_INPUT_PLUS_IO1;
  hcomp4.Init.InputMinus = COMP_INPUT_MINUS_DAC3_CH2;
  hcomp4.Init.OutputPol = COMP_OUTPUTPOL_NONINVERTED;
  hcomp4.Init.Hysteresis = COMP_HYSTERESIS_NONE;
  hcomp4.Init.BlankingSrce = COMP_BLANKINGSRC_NONE;
  hcomp4.Init.TriggerMode = COMP_TRIGGERMODE_NONE;
  if (HAL_COMP_Init(&hcomp4) != HAL_OK)
  {
    Error_Handler();
  }

}

static void MX_COMP5_Init(void)
{

  hcomp5.Instance = COMP5;
  hcomp5.Init.InputPlus = COMP_INPUT_PLUS_IO1;
  hcomp5.Init.InputMinus = COMP_INPUT_MINUS_DAC4_CH1;
  hcomp5.Init.OutputPol = COMP_OUTPUTPOL_NONINVERTED;
  hcomp5.Init.Hysteresis = COMP_HYSTERESIS_NONE;
  hcomp5.Init.BlankingSrce = COMP_BLANKINGSRC_NONE;
  hcomp5.Init.TriggerMode = COMP_TRIGGERMODE_NONE;
  if (HAL_COMP_Init(&hcomp5) != HAL_OK)
  {
    Error_Handler();
  }

}

static void MX_COMP6_Init(void)
{

  hcomp6.Instance = COMP6;
  hcomp6.Init.InputPlus = COMP_INPUT_PLUS_IO1;
  hcomp6.Init.InputMinus = COMP_INPUT_MINUS_DAC4_CH2;
  hcomp6.Init.OutputPol = COMP_OUTPUTPOL_NONINVERTED;
  hcomp6.Init.Hysteresis = COMP_HYSTERESIS_NONE;
  hcomp6.Init.BlankingSrce = COMP_BLANKINGSRC_NONE;
  hcomp6.Init.TriggerMode = COMP_TRIGGERMODE_NONE;
  if (HAL_COMP_Init(&hcomp6) != HAL_OK)
  {
    Error_Handler();
  }

}

static void MX_COMP7_Init(void)
{

  hcomp7.Instance = COMP7;
  hcomp7.Init.InputPlus = COMP_INPUT_PLUS_IO1;
  hcomp7.Init.InputMinus = COMP_INPUT_MINUS_DAC2_CH1;
  hcomp7.Init.OutputPol = COMP_OUTPUTPOL_NONINVERTED;
  hcomp7.Init.Hysteresis = COMP_HYSTERESIS_NONE;
  hcomp7.Init.BlankingSrce = COMP_BLANKINGSRC_NONE;
  hcomp7.Init.TriggerMode = COMP_TRIGGERMODE_NONE;
  if (HAL_COMP_Init(&hcomp7) != HAL_OK)
  {
    Error_Handler();
  }

}

static void MX_DAC1_Init(void)
{

  DAC_ChannelConfTypeDef sConfig = {0};

  /** DAC Initialization
  */
  hdac1.Instance = DAC1;
  if (HAL_DAC_Init(&hdac1) != HAL_OK)
  {
    Error_Handler();
  }

  /** DAC channel OUT1 config
  */
  sConfig.DAC_HighFrequency = DAC_HIGH_FREQUENCY_INTERFACE_MODE_AUTOMATIC;
  sConfig.DAC_DMADoubleDataMode = DISABLE;
  sConfig.DAC_SignedFormat = DISABLE;
  sConfig.DAC_SampleAndHold = DAC_SAMPLEANDHOLD_DISABLE;
  sConfig.DAC_Trigger = DAC_TRIGGER_NONE;
  sConfig.DAC_Trigger2 = DAC_TRIGGER_NONE;
  sConfig.DAC_OutputBuffer = DAC_OUTPUTBUFFER_DISABLE;
  sConfig.DAC_ConnectOnChipPeripheral = DAC_CHIPCONNECT_INTERNAL;
  sConfig.DAC_UserTrimming = DAC_TRIMMING_FACTORY;
  if (HAL_DAC_ConfigChannel(&hdac1, &sConfig, DAC_CHANNEL_1) != HAL_OK)
  {
    Error_Handler();
  }

  /** DAC channel OUT2 config
  */
  if (HAL_DAC_ConfigChannel(&hdac1, &sConfig, DAC_CHANNEL_2) != HAL_OK)
  {
    Error_Handler();
  }

}

static void MX_DAC2_Init(void)
{

  DAC_ChannelConfTypeDef sConfig = {0};

  /** DAC Initialization
  */
  hdac2.Instance = DAC2;
  if (HAL_DAC_Init(&hdac2) != HAL_OK)
  {
    Error_Handler();
  }

  /** DAC channel OUT1 config
  */
  sConfig.DAC_HighFrequency = DAC_HIGH_FREQUENCY_INTERFACE_MODE_AUTOMATIC;
  sConfig.DAC_DMADoubleDataMode = DISABLE;
  sConfig.DAC_SignedFormat = DISABLE;
  sConfig.DAC_SampleAndHold = DAC_SAMPLEANDHOLD_DISABLE;
  sConfig.DAC_Trigger = DAC_TRIGGER_NONE;
  sConfig.DAC_Trigger2 = DAC_TRIGGER_NONE;
  sConfig.DAC_OutputBuffer = DAC_OUTPUTBUFFER_DISABLE;
  sConfig.DAC_ConnectOnChipPeripheral = DAC_CHIPCONNECT_INTERNAL;
  sConfig.DAC_UserTrimming = DAC_TRIMMING_FACTORY;
  if (HAL_DAC_ConfigChannel(&hdac2, &sConfig, DAC_CHANNEL_1) != HAL_OK)
  {
    Error_Handler();
  }

}

static void MX_DAC3_Init(void)
{

  DAC_ChannelConfTypeDef sConfig = {0};

  /** DAC Initialization
  */
  hdac3.Instance = DAC3;
  if (HAL_DAC_Init(&hdac3) != HAL_OK)
  {
    Error_Handler();
  }

  /** DAC channel OUT1 config
  */
  sConfig.DAC_HighFrequency = DAC_HIGH_FREQUENCY_INTERFACE_MODE_AUTOMATIC;
  sConfig.DAC_DMADoubleDataMode = DISABLE;
  sConfig.DAC_SignedFormat = DISABLE;
  sConfig.DAC_SampleAndHold = DAC_SAMPLEANDHOLD_DISABLE;
  sConfig.DAC_Trigger = DAC_TRIGGER_NONE;
  sConfig.DAC_Trigger2 = DAC_TRIGGER_NONE;
  sConfig.DAC_OutputBuffer = DAC_OUTPUTBUFFER_DISABLE;
  sConfig.DAC_ConnectOnChipPeripheral = DAC_CHIPCONNECT_INTERNAL;
  sConfig.DAC_UserTrimming = DAC_TRIMMING_FACTORY;
  if (HAL_DAC_ConfigChannel(&hdac3, &sConfig, DAC_CHANNEL_1) != HAL_OK)
  {
    Error_Handler();
  }

  /** DAC channel OUT2 config
  */
  if (HAL_DAC_ConfigChannel(&hdac3, &sConfig, DAC_CHANNEL_2) != HAL_OK)
  {
    Error_Handler();
  }

}

static void MX_DAC4_Init(void)
{

  DAC_ChannelConfTypeDef sConfig = {0};

  /** DAC Initialization
  */
  hdac4.Instance = DAC4;
  if (HAL_DAC_Init(&hdac4) != HAL_OK)
  {
    Error_Handler();
  }

  /** DAC channel OUT1 config
  */
  sConfig.DAC_HighFrequency = DAC_HIGH_FREQUENCY_INTERFACE_MODE_AUTOMATIC;
  sConfig.DAC_DMADoubleDataMode = DISABLE;
  sConfig.DAC_SignedFormat = DISABLE;
  sConfig.DAC_SampleAndHold = DAC_SAMPLEANDHOLD_DISABLE;
  sConfig.DAC_Trigger = DAC_TRIGGER_NONE;
  sConfig.DAC_Trigger2 = DAC_TRIGGER_NONE;
  sConfig.DAC_OutputBuffer = DAC_OUTPUTBUFFER_DISABLE;
  sConfig.DAC_ConnectOnChipPeripheral = DAC_CHIPCONNECT_INTERNAL;
  sConfig.DAC_UserTrimming = DAC_TRIMMING_FACTORY;
  if (HAL_DAC_ConfigChannel(&hdac4, &sConfig, DAC_CHANNEL_1) != HAL_OK)
  {
    Error_Handler();
  }

  /** DAC channel OUT2 config
  */
  if (HAL_DAC_ConfigChannel(&hdac4, &sConfig, DAC_CHANNEL_2) != HAL_OK)
  {
    Error_Handler();
  }

}

static void MX_FDCAN1_Init(void)
{

  /* USER CODE BEGIN FDCAN1_Init 0 */
#if (BOARD_FDCAN1_TRANSCEIVER_WIRING_FIXED == 0U)
  /* Leave both contested logic-side CAN nets passive on the affected PCB.
   * This early return is in a CubeMX user block so regeneration preserves the
   * electrical safety gate even though the .ioc still describes FDCAN1. */
  __HAL_RCC_GPIOA_CLK_ENABLE();
  HAL_GPIO_DeInit(GPIOA, GPIO_PIN_11 | GPIO_PIN_12);
  return;
#endif
  /* USER CODE END FDCAN1_Init 0 */

  hfdcan1.Instance = FDCAN1;
  hfdcan1.Init.ClockDivider = FDCAN_CLOCK_DIV1;
  hfdcan1.Init.FrameFormat = FDCAN_FRAME_CLASSIC;
  hfdcan1.Init.Mode = FDCAN_MODE_NORMAL;
  hfdcan1.Init.AutoRetransmission = ENABLE;
  hfdcan1.Init.TransmitPause = DISABLE;
  hfdcan1.Init.ProtocolException = DISABLE;
  hfdcan1.Init.NominalPrescaler = 10;
  hfdcan1.Init.NominalSyncJumpWidth = 4;
  hfdcan1.Init.NominalTimeSeg1 = 29;
  hfdcan1.Init.NominalTimeSeg2 = 4;
  hfdcan1.Init.DataPrescaler = 1;
  hfdcan1.Init.DataSyncJumpWidth = 1;
  hfdcan1.Init.DataTimeSeg1 = 1;
  hfdcan1.Init.DataTimeSeg2 = 1;
  hfdcan1.Init.StdFiltersNbr = 0;
  hfdcan1.Init.ExtFiltersNbr = 0;
  hfdcan1.Init.TxFifoQueueMode = FDCAN_TX_FIFO_OPERATION;
  if (HAL_FDCAN_Init(&hfdcan1) != HAL_OK)
  {
    Error_Handler();
  }

}

static void MX_TIM1_Init(void)
{

  TIM_ClockConfigTypeDef sClockSourceConfig = {0};
  TIM_MasterConfigTypeDef sMasterConfig = {0};
  TIM_OC_InitTypeDef sConfigOC = {0};
  TIM_BreakDeadTimeConfigTypeDef sBreakDeadTimeConfig = {0};

  htim1.Instance = TIM1;
  htim1.Init.Prescaler = 0;
  htim1.Init.CounterMode = TIM_COUNTERMODE_CENTERALIGNED3;
  htim1.Init.Period = 65535;
  htim1.Init.ClockDivision = TIM_CLOCKDIVISION_DIV1;
  htim1.Init.RepetitionCounter = 1;
  htim1.Init.AutoReloadPreload = TIM_AUTORELOAD_PRELOAD_ENABLE;
  if (HAL_TIM_Base_Init(&htim1) != HAL_OK)
  {
    Error_Handler();
  }
  sClockSourceConfig.ClockSource = TIM_CLOCKSOURCE_INTERNAL;
  if (HAL_TIM_ConfigClockSource(&htim1, &sClockSourceConfig) != HAL_OK)
  {
    Error_Handler();
  }
  if (HAL_TIM_PWM_Init(&htim1) != HAL_OK)
  {
    Error_Handler();
  }
  sMasterConfig.MasterOutputTrigger = TIM_TRGO_RESET;
  sMasterConfig.MasterOutputTrigger2 = TIM_TRGO2_RESET;
  sMasterConfig.MasterSlaveMode = TIM_MASTERSLAVEMODE_DISABLE;
  if (HAL_TIMEx_MasterConfigSynchronization(&htim1, &sMasterConfig) != HAL_OK)
  {
    Error_Handler();
  }
  sConfigOC.OCMode = TIM_OCMODE_PWM1;
  sConfigOC.Pulse = 0;
  sConfigOC.OCPolarity = TIM_OCPOLARITY_HIGH;
  sConfigOC.OCNPolarity = TIM_OCNPOLARITY_HIGH;
  sConfigOC.OCFastMode = TIM_OCFAST_DISABLE;
  sConfigOC.OCIdleState = TIM_OCIDLESTATE_RESET;
  sConfigOC.OCNIdleState = TIM_OCNIDLESTATE_RESET;
  if (HAL_TIM_PWM_ConfigChannel(&htim1, &sConfigOC, TIM_CHANNEL_1) != HAL_OK)
  {
    Error_Handler();
  }
  if (HAL_TIM_PWM_ConfigChannel(&htim1, &sConfigOC, TIM_CHANNEL_2) != HAL_OK)
  {
    Error_Handler();
  }
  sConfigOC.OCMode = TIM_OCMODE_PWM2;
  sConfigOC.Pulse = 65535;
  if (HAL_TIM_PWM_ConfigChannel(&htim1, &sConfigOC, TIM_CHANNEL_3) != HAL_OK)
  {
    Error_Handler();
  }
  sConfigOC.OCMode = TIM_OCMODE_PWM1;
  sConfigOC.Pulse = 0;
  if (HAL_TIM_PWM_ConfigChannel(&htim1, &sConfigOC, TIM_CHANNEL_4) != HAL_OK)
  {
    Error_Handler();
  }
  sBreakDeadTimeConfig.OffStateRunMode = TIM_OSSR_ENABLE;
  sBreakDeadTimeConfig.OffStateIDLEMode = TIM_OSSI_ENABLE;
  sBreakDeadTimeConfig.LockLevel = TIM_LOCKLEVEL_OFF;
  sBreakDeadTimeConfig.DeadTime = 0;
  sBreakDeadTimeConfig.BreakState = TIM_BREAK_DISABLE;
  sBreakDeadTimeConfig.BreakPolarity = TIM_BREAKPOLARITY_HIGH;
  sBreakDeadTimeConfig.BreakFilter = 0;
  sBreakDeadTimeConfig.BreakAFMode = TIM_BREAK_AFMODE_INPUT;
  sBreakDeadTimeConfig.Break2State = TIM_BREAK2_DISABLE;
  sBreakDeadTimeConfig.Break2Polarity = TIM_BREAK2POLARITY_HIGH;
  sBreakDeadTimeConfig.Break2Filter = 0;
  sBreakDeadTimeConfig.Break2AFMode = TIM_BREAK_AFMODE_INPUT;
  sBreakDeadTimeConfig.AutomaticOutput = TIM_AUTOMATICOUTPUT_DISABLE;
  if (HAL_TIMEx_ConfigBreakDeadTime(&htim1, &sBreakDeadTimeConfig) != HAL_OK)
  {
    Error_Handler();
  }
  HAL_TIM_MspPostInit(&htim1);

}

static void MX_UART4_Init(void)
{

  huart4.Instance = UART4;
  huart4.Init.BaudRate = 115200;
  huart4.Init.WordLength = UART_WORDLENGTH_8B;
  huart4.Init.StopBits = UART_STOPBITS_1;
  huart4.Init.Parity = UART_PARITY_NONE;
  huart4.Init.Mode = UART_MODE_TX_RX;
  huart4.Init.HwFlowCtl = UART_HWCONTROL_NONE;
  huart4.Init.OverSampling = UART_OVERSAMPLING_16;
  huart4.Init.OneBitSampling = UART_ONE_BIT_SAMPLE_DISABLE;
  huart4.Init.ClockPrescaler = UART_PRESCALER_DIV1;
  huart4.AdvancedInit.AdvFeatureInit = UART_ADVFEATURE_NO_INIT;
  if (HAL_UART_Init(&huart4) != HAL_OK)
  {
    Error_Handler();
  }
  if (HAL_UARTEx_SetTxFifoThreshold(&huart4, UART_TXFIFO_THRESHOLD_1_8) != HAL_OK)
  {
    Error_Handler();
  }
  if (HAL_UARTEx_SetRxFifoThreshold(&huart4, UART_RXFIFO_THRESHOLD_1_8) != HAL_OK)
  {
    Error_Handler();
  }
  if (HAL_UARTEx_DisableFifoMode(&huart4) != HAL_OK)
  {
    Error_Handler();
  }

}

static void MX_UART5_Init(void)
{

  huart5.Instance = UART5;
  huart5.Init.BaudRate = 115200;
  huart5.Init.WordLength = UART_WORDLENGTH_8B;
  huart5.Init.StopBits = UART_STOPBITS_1;
  huart5.Init.Parity = UART_PARITY_NONE;
  huart5.Init.Mode = UART_MODE_TX_RX;
  huart5.Init.HwFlowCtl = UART_HWCONTROL_NONE;
  huart5.Init.OverSampling = UART_OVERSAMPLING_16;
  huart5.Init.OneBitSampling = UART_ONE_BIT_SAMPLE_DISABLE;
  huart5.Init.ClockPrescaler = UART_PRESCALER_DIV1;
  huart5.AdvancedInit.AdvFeatureInit = UART_ADVFEATURE_NO_INIT;
  if (HAL_UART_Init(&huart5) != HAL_OK)
  {
    Error_Handler();
  }
  if (HAL_UARTEx_SetTxFifoThreshold(&huart5, UART_TXFIFO_THRESHOLD_1_8) != HAL_OK)
  {
    Error_Handler();
  }
  if (HAL_UARTEx_SetRxFifoThreshold(&huart5, UART_RXFIFO_THRESHOLD_1_8) != HAL_OK)
  {
    Error_Handler();
  }
  if (HAL_UARTEx_DisableFifoMode(&huart5) != HAL_OK)
  {
    Error_Handler();
  }

}

static void MX_DMA_Init(void)
{

  /* DMA controller clock enable */
  __HAL_RCC_DMAMUX1_CLK_ENABLE();
  __HAL_RCC_DMA1_CLK_ENABLE();

  /* DMA interrupt init */
  /* DMA1_Channel1_IRQn interrupt configuration */
  HAL_NVIC_SetPriority(DMA1_Channel1_IRQn, 0, 0);
  HAL_NVIC_EnableIRQ(DMA1_Channel1_IRQn);
  /* DMA1_Channel2_IRQn interrupt configuration */
  HAL_NVIC_SetPriority(DMA1_Channel2_IRQn, 0, 0);
  HAL_NVIC_EnableIRQ(DMA1_Channel2_IRQn);

}

static void MX_GPIO_Init(void)
{
  GPIO_InitTypeDef GPIO_InitStruct = {0};
  /* USER CODE BEGIN MX_GPIO_Init_1 */
  /* Trigger pins start as passive inputs. trigger_capture_stm32_init() later
   * applies the enabled channels and edge polarity from the wheel list. */
  /* USER CODE END MX_GPIO_Init_1 */

  /* GPIO Ports Clock Enable */
  __HAL_RCC_GPIOE_CLK_ENABLE();
  __HAL_RCC_GPIOC_CLK_ENABLE();
  __HAL_RCC_GPIOF_CLK_ENABLE();
  __HAL_RCC_GPIOA_CLK_ENABLE();
  __HAL_RCC_GPIOB_CLK_ENABLE();
  __HAL_RCC_GPIOD_CLK_ENABLE();

  /*Configure GPIO pin Output Level */
  HAL_GPIO_WritePin(GPIOE, SEL12_Pin|SEL34_Pin|SEL56_Pin|SEL78_Pin
                          |SEL1112_Pin|IGN2_Pin|IGN1_Pin|IGN4_Pin
                          |IGN3_Pin|IGN6_Pin|IGN5_Pin|IGN8_Pin, GPIO_PIN_RESET);

  /*Configure GPIO pin Output Level */
  HAL_GPIO_WritePin(GPIOC, SEL910_Pin|BOOST34_Pin|BOOST12_Pin, GPIO_PIN_RESET);

  /*Configure GPIO pin Output Level */
  HAL_GPIO_WritePin(GPIOF, LED2_Pin|LED1_Pin, GPIO_PIN_RESET);

  /*Configure GPIO pin Output Level */
  HAL_GPIO_WritePin(GPIOA, BOOST910_Pin|BOOST1112_Pin|BOOST78_Pin|BOOST56_Pin, GPIO_PIN_RESET);

  /*Configure GPIO pin Output Level */
  HAL_GPIO_WritePin(GPIOB, IGN7_Pin|IGN10_Pin|IGN9_Pin, GPIO_PIN_RESET);

  /*Configure GPIO pin Output Level */
  HAL_GPIO_WritePin(GPIOD, IGN12_Pin|IGN11_Pin, GPIO_PIN_RESET);

  /*Configure GPIO pins : SEL12_Pin SEL34_Pin SEL56_Pin SEL78_Pin
                           SEL1112_Pin IGN2_Pin IGN1_Pin IGN4_Pin
                           IGN3_Pin IGN6_Pin IGN5_Pin IGN8_Pin */
  GPIO_InitStruct.Pin = SEL12_Pin|SEL34_Pin|SEL56_Pin|SEL78_Pin
                          |SEL1112_Pin|IGN2_Pin|IGN1_Pin|IGN4_Pin
                          |IGN3_Pin|IGN6_Pin|IGN5_Pin|IGN8_Pin;
  GPIO_InitStruct.Mode = GPIO_MODE_OUTPUT_PP;
  GPIO_InitStruct.Pull = GPIO_NOPULL;
  GPIO_InitStruct.Speed = GPIO_SPEED_FREQ_LOW;
  HAL_GPIO_Init(GPIOE, &GPIO_InitStruct);

  /*Configure GPIO pins : SEL910_Pin BOOST34_Pin BOOST12_Pin */
  GPIO_InitStruct.Pin = SEL910_Pin|BOOST34_Pin|BOOST12_Pin;
  GPIO_InitStruct.Mode = GPIO_MODE_OUTPUT_PP;
  GPIO_InitStruct.Pull = GPIO_NOPULL;
  GPIO_InitStruct.Speed = GPIO_SPEED_FREQ_LOW;
  HAL_GPIO_Init(GPIOC, &GPIO_InitStruct);

  /*Configure GPIO pins : LED2_Pin LED1_Pin */
  GPIO_InitStruct.Pin = LED2_Pin|LED1_Pin;
  GPIO_InitStruct.Mode = GPIO_MODE_OUTPUT_PP;
  GPIO_InitStruct.Pull = GPIO_NOPULL;
  GPIO_InitStruct.Speed = GPIO_SPEED_FREQ_LOW;
  HAL_GPIO_Init(GPIOF, &GPIO_InitStruct);

  /*Configure GPIO pins : BOOST910_Pin BOOST1112_Pin BOOST78_Pin BOOST56_Pin */
  GPIO_InitStruct.Pin = BOOST910_Pin|BOOST1112_Pin|BOOST78_Pin|BOOST56_Pin;
  GPIO_InitStruct.Mode = GPIO_MODE_OUTPUT_PP;
  GPIO_InitStruct.Pull = GPIO_NOPULL;
  GPIO_InitStruct.Speed = GPIO_SPEED_FREQ_LOW;
  HAL_GPIO_Init(GPIOA, &GPIO_InitStruct);

  /*Configure GPIO pins : IGN7_Pin IGN10_Pin IGN9_Pin */
  GPIO_InitStruct.Pin = IGN7_Pin|IGN10_Pin|IGN9_Pin;
  GPIO_InitStruct.Mode = GPIO_MODE_OUTPUT_PP;
  GPIO_InitStruct.Pull = GPIO_NOPULL;
  GPIO_InitStruct.Speed = GPIO_SPEED_FREQ_LOW;
  HAL_GPIO_Init(GPIOB, &GPIO_InitStruct);

  /*Configure GPIO pins : IGN12_Pin IGN11_Pin */
  GPIO_InitStruct.Pin = IGN12_Pin|IGN11_Pin;
  GPIO_InitStruct.Mode = GPIO_MODE_OUTPUT_PP;
  GPIO_InitStruct.Pull = GPIO_NOPULL;
  GPIO_InitStruct.Speed = GPIO_SPEED_FREQ_LOW;
  HAL_GPIO_Init(GPIOD, &GPIO_InitStruct);

  /*Configure GPIO pins : TMG_OUT1_Pin TMG_OUT6_Pin TMG_OUT2_Pin TMG_OUT7_Pin
                           TMG_OUT4_Pin TMG_OUT8_Pin */
  GPIO_InitStruct.Pin = TMG_OUT1_Pin|TMG_OUT6_Pin|TMG_OUT2_Pin|TMG_OUT7_Pin
                          |TMG_OUT4_Pin|TMG_OUT8_Pin;
  GPIO_InitStruct.Mode = GPIO_MODE_INPUT;
  GPIO_InitStruct.Pull = GPIO_NOPULL;
  HAL_GPIO_Init(GPIOD, &GPIO_InitStruct);

  /*Configure GPIO pin : TMG_OUT3_Pin */
  GPIO_InitStruct.Pin = TMG_OUT3_Pin;
  GPIO_InitStruct.Mode = GPIO_MODE_INPUT;
  GPIO_InitStruct.Pull = GPIO_NOPULL;
  HAL_GPIO_Init(TMG_OUT3_GPIO_Port, &GPIO_InitStruct);

  /*Configure GPIO pins : TMG_OUT9_Pin TMG_OUT5_Pin */
  GPIO_InitStruct.Pin = TMG_OUT9_Pin|TMG_OUT5_Pin;
  GPIO_InitStruct.Mode = GPIO_MODE_INPUT;
  GPIO_InitStruct.Pull = GPIO_NOPULL;
  HAL_GPIO_Init(GPIOA, &GPIO_InitStruct);

}

/* USER CODE BEGIN 4 */
int _write(int file, char *ptr, int len) {
    (void)file;
    for (int i = 0; i < len; i++) {
        ITM_SendChar((*ptr++));
    }
    return len;
}

/* USER CODE END 4 */

void Error_Handler(void)
{
  /* USER CODE BEGIN Error_Handler_Debug */
  /* Trap: do not continue with clock/peripherals in an undefined state.
   * Note: this can be called before MX_GPIO_Init (e.g. SystemClock_Config
   * failure), so do not drive GPIO/LED here. */
  engine_control_emergency_fault_isr(ENGINE_FAULT_PLATFORM);
  __disable_irq();
  while (1)
  {
  }
  /* USER CODE END Error_Handler_Debug */
}
